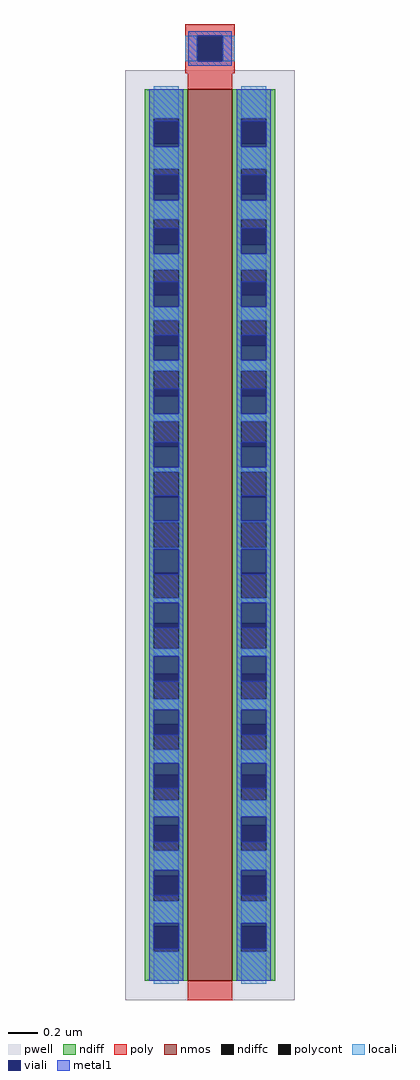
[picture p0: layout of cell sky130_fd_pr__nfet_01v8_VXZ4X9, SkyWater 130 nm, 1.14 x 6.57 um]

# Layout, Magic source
magic
tech sky130A
magscale 1 2
<< pwell >>
rect -114 -657 114 595
<< nmos >>
rect -30 -631 30 569
<< ndiff >>
rect -88 530 -30 569
rect -88 496 -76 530
rect -42 496 -30 530
rect -88 462 -30 496
rect -88 428 -76 462
rect -42 428 -30 462
rect -88 394 -30 428
rect -88 360 -76 394
rect -42 360 -30 394
rect -88 326 -30 360
rect -88 292 -76 326
rect -42 292 -30 326
rect -88 258 -30 292
rect -88 224 -76 258
rect -42 224 -30 258
rect -88 190 -30 224
rect -88 156 -76 190
rect -42 156 -30 190
rect -88 122 -30 156
rect -88 88 -76 122
rect -42 88 -30 122
rect -88 54 -30 88
rect -88 20 -76 54
rect -42 20 -30 54
rect -88 -14 -30 20
rect -88 -48 -76 -14
rect -42 -48 -30 -14
rect -88 -82 -30 -48
rect -88 -116 -76 -82
rect -42 -116 -30 -82
rect -88 -150 -30 -116
rect -88 -184 -76 -150
rect -42 -184 -30 -150
rect -88 -218 -30 -184
rect -88 -252 -76 -218
rect -42 -252 -30 -218
rect -88 -286 -30 -252
rect -88 -320 -76 -286
rect -42 -320 -30 -286
rect -88 -354 -30 -320
rect -88 -388 -76 -354
rect -42 -388 -30 -354
rect -88 -422 -30 -388
rect -88 -456 -76 -422
rect -42 -456 -30 -422
rect -88 -490 -30 -456
rect -88 -524 -76 -490
rect -42 -524 -30 -490
rect -88 -558 -30 -524
rect -88 -592 -76 -558
rect -42 -592 -30 -558
rect -88 -631 -30 -592
rect 30 530 88 569
rect 30 496 42 530
rect 76 496 88 530
rect 30 462 88 496
rect 30 428 42 462
rect 76 428 88 462
rect 30 394 88 428
rect 30 360 42 394
rect 76 360 88 394
rect 30 326 88 360
rect 30 292 42 326
rect 76 292 88 326
rect 30 258 88 292
rect 30 224 42 258
rect 76 224 88 258
rect 30 190 88 224
rect 30 156 42 190
rect 76 156 88 190
rect 30 122 88 156
rect 30 88 42 122
rect 76 88 88 122
rect 30 54 88 88
rect 30 20 42 54
rect 76 20 88 54
rect 30 -14 88 20
rect 30 -48 42 -14
rect 76 -48 88 -14
rect 30 -82 88 -48
rect 30 -116 42 -82
rect 76 -116 88 -82
rect 30 -150 88 -116
rect 30 -184 42 -150
rect 76 -184 88 -150
rect 30 -218 88 -184
rect 30 -252 42 -218
rect 76 -252 88 -218
rect 30 -286 88 -252
rect 30 -320 42 -286
rect 76 -320 88 -286
rect 30 -354 88 -320
rect 30 -388 42 -354
rect 76 -388 88 -354
rect 30 -422 88 -388
rect 30 -456 42 -422
rect 76 -456 88 -422
rect 30 -490 88 -456
rect 30 -524 42 -490
rect 76 -524 88 -490
rect 30 -558 88 -524
rect 30 -592 42 -558
rect 76 -592 88 -558
rect 30 -631 88 -592
<< ndiffc >>
rect -76 496 -42 530
rect -76 428 -42 462
rect -76 360 -42 394
rect -76 292 -42 326
rect -76 224 -42 258
rect -76 156 -42 190
rect -76 88 -42 122
rect -76 20 -42 54
rect -76 -48 -42 -14
rect -76 -116 -42 -82
rect -76 -184 -42 -150
rect -76 -252 -42 -218
rect -76 -320 -42 -286
rect -76 -388 -42 -354
rect -76 -456 -42 -422
rect -76 -524 -42 -490
rect -76 -592 -42 -558
rect 42 496 76 530
rect 42 428 76 462
rect 42 360 76 394
rect 42 292 76 326
rect 42 224 76 258
rect 42 156 76 190
rect 42 88 76 122
rect 42 20 76 54
rect 42 -48 76 -14
rect 42 -116 76 -82
rect 42 -184 76 -150
rect 42 -252 76 -218
rect 42 -320 76 -286
rect 42 -388 76 -354
rect 42 -456 76 -422
rect 42 -524 76 -490
rect 42 -592 76 -558
<< poly >>
rect -33 641 33 657
rect -33 607 -17 641
rect 17 607 33 641
rect -33 591 33 607
rect -30 569 30 591
rect -30 -657 30 -631
<< polycont >>
rect -17 607 17 641
<< locali >>
rect -33 607 -17 641
rect 17 607 33 641
rect -76 530 -42 573
rect -76 462 -42 492
rect -76 394 -42 420
rect -76 326 -42 348
rect -76 258 -42 276
rect -76 190 -42 204
rect -76 122 -42 132
rect -76 54 -42 60
rect -76 -14 -42 -12
rect -76 -50 -42 -48
rect -76 -122 -42 -116
rect -76 -194 -42 -184
rect -76 -266 -42 -252
rect -76 -338 -42 -320
rect -76 -410 -42 -388
rect -76 -482 -42 -456
rect -76 -554 -42 -524
rect -76 -635 -42 -592
rect 42 530 76 573
rect 42 462 76 492
rect 42 394 76 420
rect 42 326 76 348
rect 42 258 76 276
rect 42 190 76 204
rect 42 122 76 132
rect 42 54 76 60
rect 42 -14 76 -12
rect 42 -50 76 -48
rect 42 -122 76 -116
rect 42 -194 76 -184
rect 42 -266 76 -252
rect 42 -338 76 -320
rect 42 -410 76 -388
rect 42 -482 76 -456
rect 42 -554 76 -524
rect 42 -635 76 -592
<< viali >>
rect -17 607 17 641
rect -76 496 -42 526
rect -76 492 -42 496
rect -76 428 -42 454
rect -76 420 -42 428
rect -76 360 -42 382
rect -76 348 -42 360
rect -76 292 -42 310
rect -76 276 -42 292
rect -76 224 -42 238
rect -76 204 -42 224
rect -76 156 -42 166
rect -76 132 -42 156
rect -76 88 -42 94
rect -76 60 -42 88
rect -76 20 -42 22
rect -76 -12 -42 20
rect -76 -82 -42 -50
rect -76 -84 -42 -82
rect -76 -150 -42 -122
rect -76 -156 -42 -150
rect -76 -218 -42 -194
rect -76 -228 -42 -218
rect -76 -286 -42 -266
rect -76 -300 -42 -286
rect -76 -354 -42 -338
rect -76 -372 -42 -354
rect -76 -422 -42 -410
rect -76 -444 -42 -422
rect -76 -490 -42 -482
rect -76 -516 -42 -490
rect -76 -558 -42 -554
rect -76 -588 -42 -558
rect 42 496 76 526
rect 42 492 76 496
rect 42 428 76 454
rect 42 420 76 428
rect 42 360 76 382
rect 42 348 76 360
rect 42 292 76 310
rect 42 276 76 292
rect 42 224 76 238
rect 42 204 76 224
rect 42 156 76 166
rect 42 132 76 156
rect 42 88 76 94
rect 42 60 76 88
rect 42 20 76 22
rect 42 -12 76 20
rect 42 -82 76 -50
rect 42 -84 76 -82
rect 42 -150 76 -122
rect 42 -156 76 -150
rect 42 -218 76 -194
rect 42 -228 76 -218
rect 42 -286 76 -266
rect 42 -300 76 -286
rect 42 -354 76 -338
rect 42 -372 76 -354
rect 42 -422 76 -410
rect 42 -444 76 -422
rect 42 -490 76 -482
rect 42 -516 76 -490
rect 42 -558 76 -554
rect 42 -588 76 -558
<< metal1 >>
rect -29 641 29 647
rect -29 607 -17 641
rect 17 607 29 641
rect -29 601 29 607
rect -82 526 -36 569
rect -82 492 -76 526
rect -42 492 -36 526
rect -82 454 -36 492
rect -82 420 -76 454
rect -42 420 -36 454
rect -82 382 -36 420
rect -82 348 -76 382
rect -42 348 -36 382
rect -82 310 -36 348
rect -82 276 -76 310
rect -42 276 -36 310
rect -82 238 -36 276
rect -82 204 -76 238
rect -42 204 -36 238
rect -82 166 -36 204
rect -82 132 -76 166
rect -42 132 -36 166
rect -82 94 -36 132
rect -82 60 -76 94
rect -42 60 -36 94
rect -82 22 -36 60
rect -82 -12 -76 22
rect -42 -12 -36 22
rect -82 -50 -36 -12
rect -82 -84 -76 -50
rect -42 -84 -36 -50
rect -82 -122 -36 -84
rect -82 -156 -76 -122
rect -42 -156 -36 -122
rect -82 -194 -36 -156
rect -82 -228 -76 -194
rect -42 -228 -36 -194
rect -82 -266 -36 -228
rect -82 -300 -76 -266
rect -42 -300 -36 -266
rect -82 -338 -36 -300
rect -82 -372 -76 -338
rect -42 -372 -36 -338
rect -82 -410 -36 -372
rect -82 -444 -76 -410
rect -42 -444 -36 -410
rect -82 -482 -36 -444
rect -82 -516 -76 -482
rect -42 -516 -36 -482
rect -82 -554 -36 -516
rect -82 -588 -76 -554
rect -42 -588 -36 -554
rect -82 -631 -36 -588
rect 36 526 82 569
rect 36 492 42 526
rect 76 492 82 526
rect 36 454 82 492
rect 36 420 42 454
rect 76 420 82 454
rect 36 382 82 420
rect 36 348 42 382
rect 76 348 82 382
rect 36 310 82 348
rect 36 276 42 310
rect 76 276 82 310
rect 36 238 82 276
rect 36 204 42 238
rect 76 204 82 238
rect 36 166 82 204
rect 36 132 42 166
rect 76 132 82 166
rect 36 94 82 132
rect 36 60 42 94
rect 76 60 82 94
rect 36 22 82 60
rect 36 -12 42 22
rect 76 -12 82 22
rect 36 -50 82 -12
rect 36 -84 42 -50
rect 76 -84 82 -50
rect 36 -122 82 -84
rect 36 -156 42 -122
rect 76 -156 82 -122
rect 36 -194 82 -156
rect 36 -228 42 -194
rect 76 -228 82 -194
rect 36 -266 82 -228
rect 36 -300 42 -266
rect 76 -300 82 -266
rect 36 -338 82 -300
rect 36 -372 42 -338
rect 76 -372 82 -338
rect 36 -410 82 -372
rect 36 -444 42 -410
rect 76 -444 82 -410
rect 36 -482 82 -444
rect 36 -516 42 -482
rect 76 -516 82 -482
rect 36 -554 82 -516
rect 36 -588 42 -554
rect 76 -588 82 -554
rect 36 -631 82 -588
<< end >>
